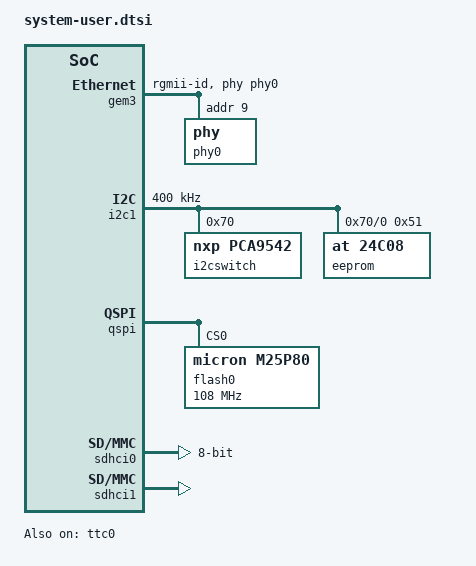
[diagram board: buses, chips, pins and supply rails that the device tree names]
/include/ "system-conf.dtsi"
/{ 
	reserved-memory {
		#address-cells = <2>;
		#size-cells = <2>;
		ranges;
		rproc_0_reserved: rproc@3ed000000 {             
			no-map;             
			reg = <0x0 0x3ed00000 0x0 0x2000000>;        
		};
	};

	amba {
	/* Shared memory */
		shm0: shm@0 {             
			compatible = "shm_uio";             
			reg = <0x0 0x3ed80000 0x0 0x1000000>;         
		};

	/* IPI device */         
		ipi_amp: ipi@ff340000  {
			compatible = "ipi_uio";             
			reg = <0x0 0xff340000 0x0 0x1000>;             
			interrupt-parent = <&gic>;             
			interrupts = <0 29 4>;         
		};

		zynqmp-rpu {
			compatible = "xlnx,zynqmp-r5-remoteproc-1.0";
			#address-cells = <2>;
			#size-cells = <2>;
			ranges;
			core_conf = "split";
			
			r5_0: r5@0 {
				#address-cells = <2>;
				#size-cells = <2>;
				ranges;
				pnode-id = <0x7>;
								
				tcm_0_a: tcm_0@0 {
					reg = <0x0 0xFFE00000 0x0 0x10000>;
					pnode-id = <0xf>;
				};
				tcm_0_b: tcm_0@1 {
					reg = <0x0 0xFFE20000 0x0 0x10000>;
					pnode-id = <0x10>;
				};
			};
		};
	};

	power-domains {
		pd_r5_0: pd_r5_0 {
			#power-domain-cells = <0x0>;
			pd-id = <0x7>;
		};
		pd_tcm_0_a: pd_tcm_0_a {
			#power-domain-cells = <0x0>;
			pd-id = <0xf>;
		};
		pd_tcm_0_b: pd_tcm_0_b {
			#power-domain-cells = <0x0>;
			pd-id = <0x10>;
		};
	};

	amba {
		/* firmware memory nodes */
		r5_0_tcm_a: tcm@ffe00000 {
			compatible = "mmio-sram";
			reg = <0x0 0xFFE00000 0x0 0x10000>;
			pd-handle = <&pd_tcm_0_a>;
		};

		r5_0_tcm_b: tcm@ffe20000 {
			compatible = "mmio-sram";
			reg = <0x0 0xFFE20000 0x0 0x10000>;
			pd-handle = <&pd_tcm_0_b>;
		};

		elf_ddr_0: ddr@3ed00000 {
			compatible = "mmio-sram";
			reg = <0x0 0x3ed00000 0x0 0x100000>;
		};

		test_r5_0: zynqmp_r5_rproc@0 {
			compatible = "xlnx,zynqmp-r5-remoteproc-1.0";
				reg = <0x0 0xff9a0100 0x0 0x100>,
			      	<0x0 0xff9a0000 0x0 0x100>;
				reg-names = "rpu_base", "rpu_glbl_base";
				dma-ranges;
				core_conf = "split0";
			srams = <&r5_0_tcm_a &r5_0_tcm_b &elf_ddr_0>;
			pd-handle = <&pd_r5_0>;
             	};               
	};
};

&ttc0 {
	compatible = "ttc0";
	status = "okay";
};

&gem3 {
	status = "okay";
	local-mac-address = [00 0a 35 00 02 90];
	phy-mode = "rgmii-id";
	phy-handle = <&phy0>;
	phy0: phy@9 {
		reg = <0x9>;
		ti,rx-internal-delay = <0x5>;
		ti,tx-internal-delay = <0x5>;
		ti,fifo-depth = <0x1>;
	};
};

&i2c1 {
	status = "okay";
	clock-frequency = <400000>;

	i2cswitch@70 { /* U7 on UZ3EG SOM */
		compatible = "nxp,pca9542";
		#address-cells = <1>;
		#size-cells = <0>;
		reg = <0x70>;
		i2c@0 { /* i2c mw 70 0 1 */
			#address-cells = <1>;
			#size-cells = <0>;
			reg = <0>;
			/* IIC_EEPROM */
			eeprom@51 { /* U5 on UZ3EG IOCC and U7 on the UZ7EV EVCC*/
				compatible = "at,24c08";
				reg = <0x51>;
			};
		};
	};
};

&qspi {
	#address-cells = <1>;
	#size-cells = <0>;
	status = "okay";
	is-dual = <1>; /* Set for dual-parallel QSPI config */
	num-cs = <2>;
	xlnx,fb-clk = <0x1>;
	flash0: flash@0 {
        /* The Flash described below doesn't match our board ("micron,n25qu256a"), but is needed */
        /* so the Flash MTD partitions are correctly identified in /proc/mtd */
		compatible = "micron,m25p80"; /* 32MB */
		#address-cells = <1>;
		#size-cells = <1>;
		reg = <0x0>;
		spi-tx-bus-width = <1>;
		spi-rx-bus-width = <4>; /* FIXME also DUAL configuration possible */
		spi-max-frequency = <108000000>; /* Set to 108000000 Based on DC1 spec */
	};
};

/* SD0 eMMC, 8-bit wide data bus */
&sdhci0 {
	status = "okay";
	bus-width = <8>;
	max-frequency = <50000000>;
};

/* SD1 with level shifter */
&sdhci1 {
	status = "okay";
	max-frequency = <50000000>;
	no-1-8-v;	/* for 1.0 silicon */
    disable-wp;
};
